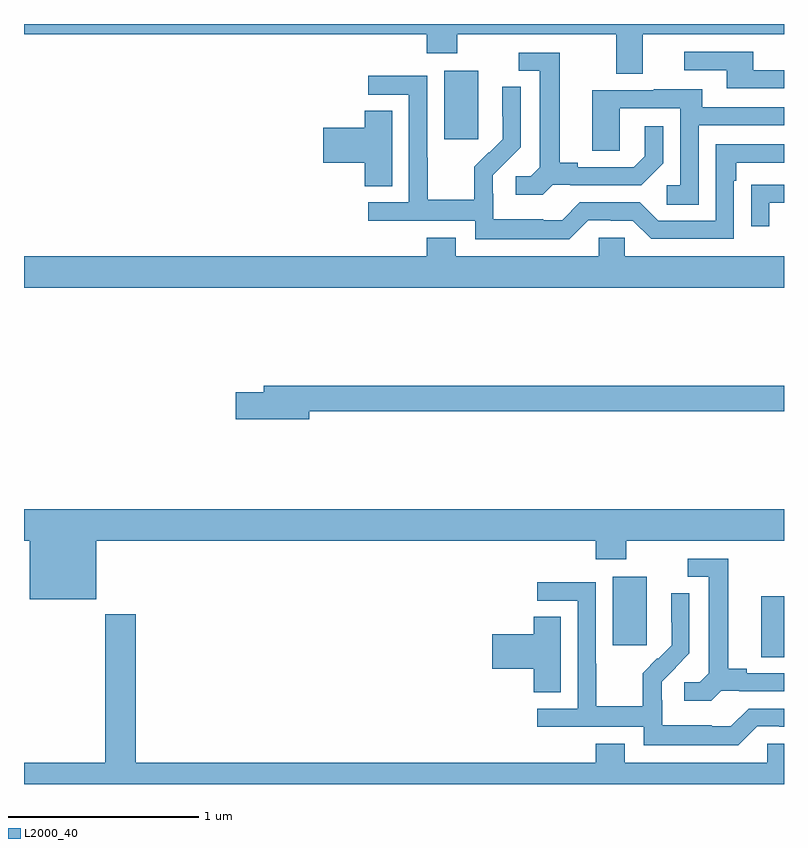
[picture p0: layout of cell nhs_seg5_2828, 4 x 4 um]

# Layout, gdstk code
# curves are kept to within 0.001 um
import gdstk
lib = gdstk.Library(unit=1e-6, precision=1e-09)
def R(c, l, rs):  # rectangles x0, y0, x1, y1
    for r in rs: c.add(gdstk.rectangle(r[:2], r[2:], *l))
def P(c, l, *ps):  # polygons
    for p in ps: c.add(gdstk.Polygon(p, *l))
L2000_40 = (2000, 40)

nhs_seg5_2828 = lib.new_cell('nhs_seg5_2828')
R(nhs_seg5_2828, L2000_40, [(278.879,869.467,279,869.787), (278.099,869.529,278.278,869.89), (277.211,872.193,277.39,872.554)])
P(nhs_seg5_2828, L2000_40, [(278.257,872.744),(279,872.744),(279,872.799),(275,872.799),(275,872.744),(277.121,872.744),(277.121,872.645),(277.281,872.645),(277.281,872.744),(278.117,872.744),(278.117,872.536),(278.257,872.536)],
  [(279,872.556),(278.839,872.556),(278.839,872.652),(278.475,872.652),(278.475,872.556),(278.699,872.556),(278.699,872.46),(279,872.46)],
  [(277.782,871.953),(277.876,871.953),(277.876,871.95),(278.248,871.95),(278.364,872.066),(278.364,872.26),(278.267,872.26),(278.267,872.103),(278.21,872.046),(277.915,872.046),(277.915,872.069),(277.819,872.069),(277.819,872.649),(277.605,872.649),(277.605,872.553),(277.715,872.553),(277.715,872.045),(277.668,871.998),(277.587,871.998),(277.587,871.901),(277.73,871.901)],
  [(277.971,871.767),(278.087,871.767),(278.087,871.764),(278.205,871.764),(278.301,871.668),(278.736,871.668),(278.736,871.973),(278.749,871.973),(278.749,872.07),(279,872.07),(279,872.166),(278.64,872.166),(278.64,871.764),(278.337,871.764),(278.241,871.86),(277.926,871.86),(277.833,871.767),(277.733,871.767),(277.733,871.771),(277.47,871.771),(277.47,871.905),(277.468,871.905),(277.468,872.002),(277.614,872.15),(277.614,872.468),(277.518,872.468),(277.518,872.314),(277.52,872.314),(277.52,872.192),(277.449,872.121),(277.446,872.124),(277.369,872.047),(277.369,871.873),(277.125,871.873),(277.125,872.096),(277.122,872.096),(277.122,872.526),(276.813,872.526),(276.813,872.427),(277.026,872.427),(277.026,871.86),(276.813,871.86),(276.813,871.764),(277.374,871.764),(277.374,871.667),(277.871,871.667)],
  [(278.55,872.265),(279,872.265),(279,872.361),(278.569,872.361),(278.569,872.455),(278.315,872.455),(278.315,872.451),(277.991,872.451),(277.991,872.131),(278.136,872.131),(278.136,872.355),(278.454,872.355),(278.454,871.95),(278.382,871.95),(278.382,871.849),(278.55,871.849)],
  [(276.937,872.342),(276.794,872.342),(276.794,872.252),(276.576,872.252),(276.576,872.069),(276.794,872.069),(276.794,871.945),(276.937,871.945)],
  [(278.923,871.857),(279,871.857),(279,871.953),(278.929,871.953),(278.929,871.952),(278.827,871.952),(278.827,871.734),(278.923,871.734)],
  [(279,871.576),(278.163,871.576),(278.163,871.674),(278.025,871.674),(278.025,871.576),(277.273,871.576),(277.273,871.675),(277.121,871.675),(277.121,871.576),(275,871.576),(275,871.412),(279,871.412)],
  [(276.502,870.76),(279,870.76),(279,870.896),(276.263,870.896),(276.263,870.86),(276.114,870.86),(276.114,870.718),(276.502,870.718)],
  [(275.38,870.08),(278.009,870.08),(278.009,869.981),(278.169,869.981),(278.169,870.08),(279,870.08),(279,870.244),(275,870.244),(275,870.08),(275.03,870.08),(275.03,869.771),(275.38,869.771)],
  [(278.67,869.289),(278.764,869.289),(278.764,869.286),(279,869.286),(279,869.382),(278.803,869.382),(278.803,869.405),(278.707,869.405),(278.707,869.985),(278.493,869.985),(278.493,869.889),(278.603,869.889),(278.603,869.381),(278.556,869.334),(278.475,869.334),(278.475,869.237),(278.618,869.237)],
  [(278.859,869.103),(278.975,869.103),(278.975,869.1),(279,869.1),(279,869.196),(278.814,869.196),(278.721,869.103),(278.621,869.103),(278.621,869.107),(278.358,869.107),(278.358,869.241),(278.356,869.241),(278.356,869.338),(278.502,869.486),(278.502,869.804),(278.406,869.804),(278.406,869.65),(278.408,869.65),(278.408,869.528),(278.337,869.457),(278.334,869.46),(278.257,869.383),(278.257,869.209),(278.013,869.209),(278.013,869.432),(278.01,869.432),(278.01,869.862),(277.701,869.862),(277.701,869.763),(277.914,869.763),(277.914,869.196),(277.701,869.196),(277.701,869.1),(278.262,869.1),(278.262,869.003),(278.759,869.003)],
  [(279,869.01),(278.913,869.01),(278.913,868.912),(278.161,868.912),(278.161,869.011),(278.009,869.011),(278.009,868.912),(275.588,868.912),(275.588,869.692),(275.428,869.692),(275.428,868.912),(275,868.912),(275,868.799),(279,868.799)],
  [(277.825,869.678),(277.682,869.678),(277.682,869.588),(277.464,869.588),(277.464,869.405),(277.682,869.405),(277.682,869.281),(277.825,869.281)])

lib.write_gds('nhs_seg5_2828.gds')
